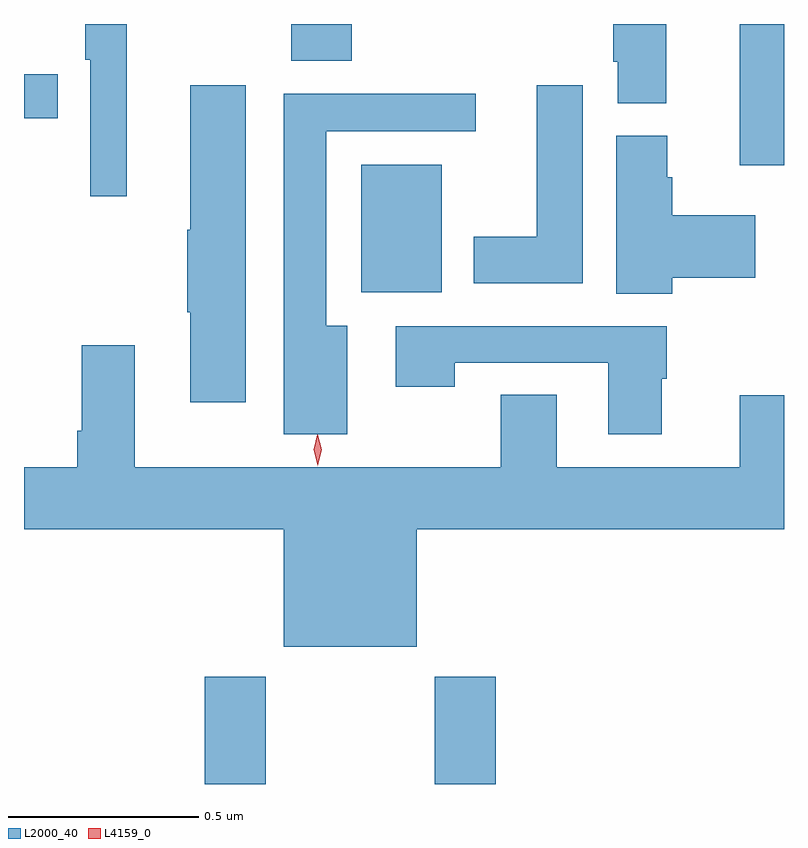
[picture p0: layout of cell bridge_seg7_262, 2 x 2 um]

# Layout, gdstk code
import gdstk
lib = gdstk.Library(unit=1e-6, precision=1e-09)
def R(c, l, rs):  # rectangles x0, y0, x1, y1
    for r in rs: c.add(gdstk.rectangle(r[:2], r[2:], *l))
def P(c, l, *ps):  # polygons
    for p in ps: c.add(gdstk.Polygon(p, *l))
L2000_40 = (2000, 40)
L4159_0 = (4159, 0)

bridge_seg7_262 = lib.new_cell('bridge_seg7_262')
R(bridge_seg7_262, L2000_40, [(223.541,1023.922,223.701,1024.204), (224.146,1023.922,224.306,1024.204), (223.952,1025.216,224.164,1025.551), (224.948,1025.55,225.065,1025.922), (223.065,1025.674,223.154,1025.79), (223.768,1025.825,223.928,1025.922)])
P(bridge_seg7_262, L2000_40, [(224.755,1025.922),(224.615,1025.922),(224.615,1025.823),(224.627,1025.823),(224.627,1025.713),(224.755,1025.713)],
  [(223.336,1025.922),(223.226,1025.922),(223.226,1025.828),(223.239,1025.828),(223.239,1025.469),(223.336,1025.469)],
  [(224.536,1025.761),(224.414,1025.761),(224.414,1025.362),(224.249,1025.362),(224.249,1025.24),(224.536,1025.24)],
  [(223.648,1025.761),(223.502,1025.761),(223.502,1025.381),(223.495,1025.381),(223.495,1025.164),(223.502,1025.164),(223.502,1024.926),(223.648,1024.926)],
  [(223.915,1025.128),(223.861,1025.128),(223.861,1025.64),(224.254,1025.64),(224.254,1025.738),(223.748,1025.738),(223.748,1024.842),(223.915,1024.842)],
  [(224.771,1025.254),(224.989,1025.254),(224.989,1025.419),(224.771,1025.419),(224.771,1025.519),(224.758,1025.519),(224.758,1025.628),(224.624,1025.628),(224.624,1025.212),(224.771,1025.212)],
  [(224.743,1024.989),(224.756,1024.989),(224.756,1025.127),(224.043,1025.127),(224.043,1024.968),(224.199,1024.968),(224.199,1025.031),(224.603,1025.031),(224.603,1024.842),(224.743,1024.842)],
  [(223.357,1025.077),(223.217,1025.077),(223.217,1024.852),(223.205,1024.852),(223.205,1024.756),(223.065,1024.756),(223.065,1024.592),(223.748,1024.592),(223.748,1024.283),(224.098,1024.283),(224.098,1024.592),(225.065,1024.592),(225.065,1024.945),(224.948,1024.945),(224.948,1024.756),(224.467,1024.756),(224.467,1024.946),(224.32,1024.946),(224.32,1024.756),(223.357,1024.756)])
P(bridge_seg7_262, L4159_0, [(223.838,1024.76),(223.838,1024.76),(223.828,1024.801),(223.837,1024.841),(223.837,1024.841),(223.838,1024.841),(223.848,1024.801),(223.838,1024.76)])

lib.write_gds('bridge_seg7_262.gds')
